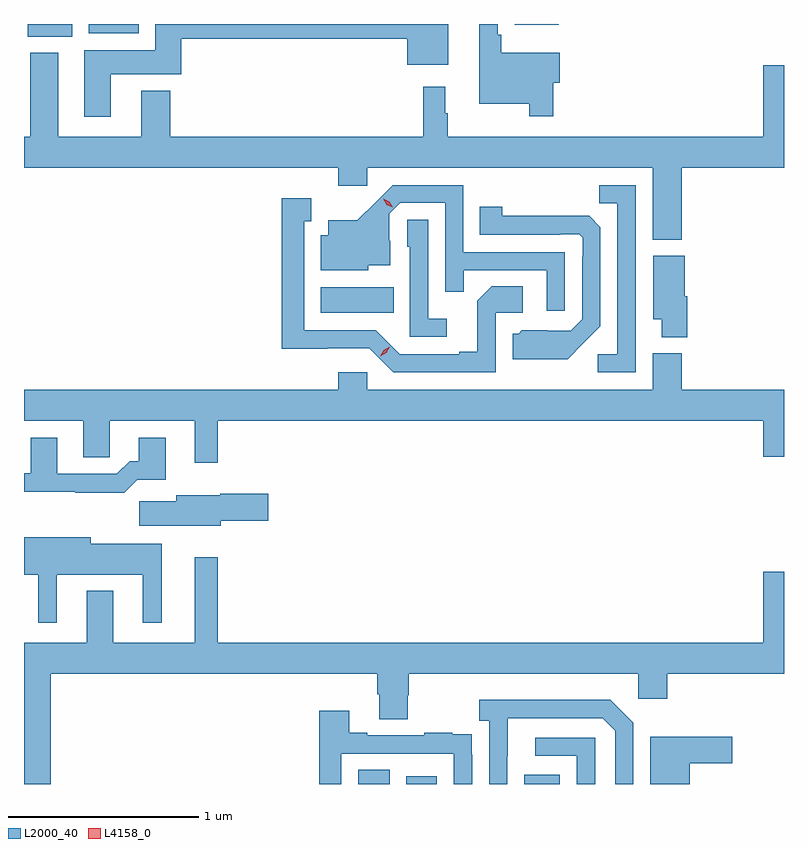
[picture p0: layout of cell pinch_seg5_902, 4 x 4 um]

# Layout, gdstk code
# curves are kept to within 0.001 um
import gdstk
lib = gdstk.Library(unit=1e-6, precision=1e-09)
def R(c, l, rs):  # rectangles x0, y0, x1, y1
    for r in rs: c.add(gdstk.rectangle(r[:2], r[2:], *l))
def P(c, l, *ps):  # polygons
    for p in ps: c.add(gdstk.Polygon(p, *l))
L2000_40 = (2000, 40)
L4158_0 = (4158, 0)

pinch_seg5_902 = lib.new_cell('pinch_seg5_902')
R(pinch_seg5_902, L2000_40, [(738.302,876.161,738.466,876.236), (738.554,876.161,738.715,876.202), (739.175,876.161,739.363,876.211), (738.104,878.642,738.488,878.776), (736.562,880.094,736.795,880.161), (736.883,880.112,737.146,880.161), (739.124,880.157,739.356,880.161)])
P(pinch_seg5_902, L2000_40, [(736.999,879.896),(737.369,879.896),(737.369,880.084),(738.56,880.084),(738.56,879.947),(738.775,879.947),(738.775,880.161),(737.234,880.161),(737.234,880.024),(736.859,880.024),(736.859,879.672),(736.999,879.672)],
  [(739.328,879.851),(739.363,879.851),(739.363,880.009),(739.055,880.009),(739.055,880.105),(739.035,880.105),(739.035,880.161),(738.938,880.161),(738.938,879.74),(739.2,879.74),(739.2,879.675),(739.328,879.675)],
  [(740.003,879.404),(740.542,879.404),(740.542,879.943),(740.432,879.943),(740.432,879.568),(738.772,879.568),(738.772,879.692),(738.76,879.692),(738.76,879.832),(738.643,879.832),(738.643,879.568),(737.312,879.568),(737.312,879.811),(737.159,879.811),(737.159,879.568),(736.723,879.568),(736.723,880.009),(736.576,880.009),(736.576,879.568),(736.542,879.568),(736.542,879.404),(738.197,879.404),(738.197,879.309),(738.348,879.309),(738.348,879.404),(739.85,879.404),(739.85,879.026),(740.003,879.026)],
  [(739.761,879.312),(739.57,879.312),(739.57,879.217),(739.665,879.217),(739.665,878.424),(739.563,878.424),(739.563,878.328),(739.761,878.328)],
  [(739.389,878.961),(738.855,878.961),(738.855,879.312),(738.482,879.312),(738.295,879.127),(738.143,879.127),(738.143,879.049),(738.104,879.049),(738.104,878.864),(738.354,878.864),(738.354,878.891),(738.469,878.891),(738.469,879.02),(738.465,879.02),(738.465,879.162),(738.522,879.219),(738.759,879.219),(738.759,878.752),(738.857,878.752),(738.857,878.865),(739.293,878.865),(739.293,878.652),(739.389,878.652)],
  [(739.026,878.64),(739.168,878.64),(739.168,878.78),(739.003,878.78),(738.927,878.704),(738.927,878.437),(738.833,878.437),(738.833,878.424),(738.519,878.424),(738.393,878.55),(738.016,878.55),(738.016,879.123),(738.055,879.123),(738.055,879.244),(737.898,879.244),(737.898,878.453),(738.36,878.454),(738.486,878.328),(739.026,878.328)],
  [(739.483,878.477),(739.575,878.57),(739.575,879.092),(739.516,879.151),(739.059,879.152),(739.059,879.199),(738.94,879.199),(738.94,879.051),(739.364,879.051),(739.364,879.054),(739.464,879.054),(739.482,879.036),(739.482,878.936),(739.479,878.936),(739.479,878.607),(739.419,878.547),(739.162,878.548),(739.146,878.532),(739.115,878.532),(739.115,878.396),(739.403,878.396)],
  [(738.766,878.611),(738.669,878.611),(738.669,879.131),(738.558,879.131),(738.558,878.988),(738.573,878.988),(738.573,878.514),(738.766,878.514)],
  [(740.033,878.727),(740.02,878.727),(740.02,878.941),(739.853,878.941),(739.853,878.606),(739.898,878.606),(739.898,878.513),(740.033,878.513)],
  [(737.563,878.072),(740.432,878.072),(740.432,877.884),(740.542,877.884),(740.542,878.236),(740.003,878.236),(740.003,878.428),(739.85,878.428),(739.85,878.236),(738.348,878.236),(738.348,878.329),(738.197,878.329),(738.197,878.236),(736.542,878.236),(736.542,878.072),(736.853,878.072),(736.853,877.882),(736.992,877.882),(736.992,878.072),(737.441,878.072),(737.441,877.851),(737.563,877.851)],
  [(737.138,877.763),(737.287,877.763),(737.287,877.984),(737.147,877.984),(737.147,877.861),(737.098,877.861),(737.031,877.794),(736.717,877.794),(736.717,877.984),(736.577,877.984),(736.577,877.797),(736.542,877.797),(736.542,877.699),(736.813,877.699),(736.813,877.694),(737.069,877.694)],
  [(737.578,877.547),(737.827,877.547),(737.827,877.689),(737.574,877.689),(737.574,877.681),(737.342,877.681),(737.342,877.649),(737.148,877.649),(737.148,877.52),(737.578,877.52)],
  [(736.714,877.262),(737.168,877.262),(737.168,877.011),(737.266,877.011),(737.266,877.426),(736.894,877.426),(736.894,877.459),(736.542,877.459),(736.542,877.262),(736.616,877.262),(736.616,877.011),(736.714,877.011)],
  [(736.682,876.74),(738.401,876.74),(738.401,876.634),(738.413,876.634),(738.413,876.502),(738.561,876.502),(738.561,876.627),(738.566,876.627),(738.566,876.74),(739.776,876.74),(739.776,876.609),(739.928,876.609),(739.928,876.74),(740.542,876.74),(740.542,877.279),(740.432,877.279),(740.432,876.904),(737.563,876.904),(737.563,877.354),(737.441,877.354),(737.441,876.904),(737.011,876.904),(737.011,877.177),(736.871,877.177),(736.871,876.904),(736.542,876.904),(736.542,876.161),(736.682,876.161)],
  [(739.086,876.307),(739.087,876.507),(739.587,876.507),(739.653,876.441),(739.653,876.161),(739.749,876.161),(739.749,876.483),(739.628,876.604),(738.939,876.604),(738.939,876.494),(738.99,876.494),(738.99,876.161),(739.086,876.161)],
  [(738.213,876.321),(738.804,876.321),(738.804,876.161),(738.9,876.161),(738.9,876.314),(738.899,876.314),(738.899,876.423),(738.797,876.423),(738.797,876.43),(738.649,876.43),(738.649,876.417),(738.349,876.417),(738.349,876.43),(738.253,876.43),(738.253,876.547),(738.097,876.547),(738.097,876.161),(738.213,876.161)],
  [(740.045,876.269),(740.269,876.269),(740.269,876.411),(739.838,876.411),(739.838,876.161),(740.045,876.161)],
  [(739.548,876.405),(739.233,876.405),(739.233,876.309),(739.452,876.309),(739.452,876.161),(739.548,876.161)])
P(pinch_seg5_902, L4158_0, [(738.482,879.196),(738.451,879.211),(738.434,879.241),(738.434,879.241),(738.434,879.241),(738.465,879.226),(738.482,879.196),(738.482,879.196)],
  [(738.417,878.412),(738.417,878.412),(738.435,878.444),(738.467,878.463),(738.467,878.463),(738.467,878.462),(738.449,878.43),(738.417,878.412)])

lib.write_gds('pinch_seg5_902.gds')
